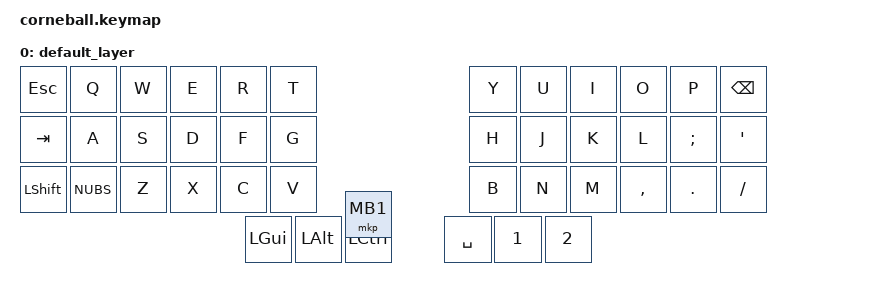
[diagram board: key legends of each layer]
#include <behaviors.dtsi>
#include <dt-bindings/zmk/keys.h>
#include <dt-bindings/zmk/mouse.h>

/ {
    keymap {
        compatible = "zmk,keymap";

        default_layer {
            bindings = <
        &kp ESC     &kp Q       &kp W       &kp E       &kp R           &kp T               &kp Y           &kp U       &kp I       &kp O           &kp P       &kp BSPC
        &kp TAB     &kp A       &kp S       &kp D       &kp F           &kp G               &kp H           &kp J       &kp K       &kp L           &kp SEMI    &kp SQT
        &kp LSHFT   &kp NUBS    &kp Z       &kp X       &kp C           &kp V               &kp B           &kp N       &kp M       &kp COMMA       &kp DOT     &kp FSLH    
                                            &kp LGUI    &kp LALT        &kp LCTRL           &kp SPACE       &kp N1      &kp N2
                                                                        &mkp MB1                                              
            >;
        };
    };
};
